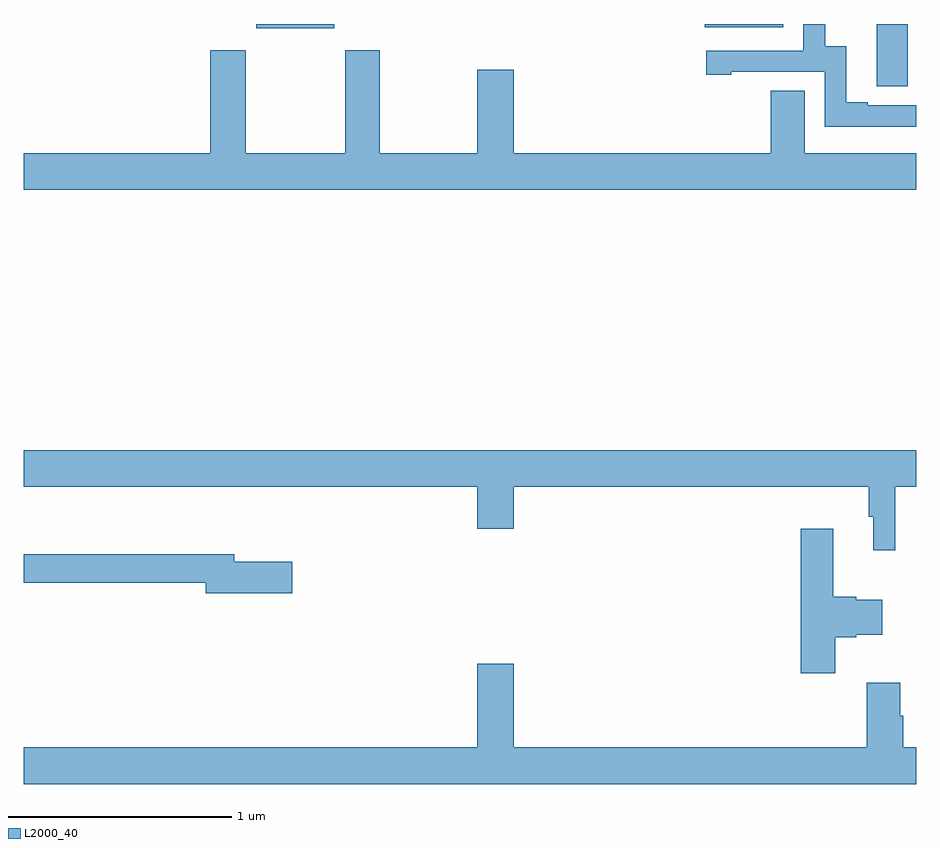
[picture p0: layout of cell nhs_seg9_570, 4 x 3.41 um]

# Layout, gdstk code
import gdstk
lib = gdstk.Library(unit=1e-6, precision=1e-09)
def R(c, l, rs):  # rectangles x0, y0, x1, y1
    for r in rs: c.add(gdstk.rectangle(r[:2], r[2:], *l))
def P(c, l, *ps):  # polygons
    for p in ps: c.add(gdstk.Polygon(p, *l))
L2000_40 = (2000, 40)

nhs_seg9_570 = lib.new_cell('nhs_seg9_570')
R(nhs_seg9_570, L2000_40, [(140.042,1194.482,140.392,1194.5), (142.052,1194.485,142.405,1194.5)])
P(nhs_seg9_570, L2000_40, [(142.963,1194.5),(142.823,1194.5),(142.823,1194.328),(142.824,1194.328),(142.824,1194.22),(142.963,1194.22)],
  [(143,1194.135),(142.783,1194.135),(142.783,1194.15),(142.687,1194.15),(142.687,1194.401),(142.593,1194.401),(142.593,1194.5),(142.494,1194.5),(142.494,1194.381),(142.059,1194.381),(142.059,1194.273),(142.171,1194.273),(142.171,1194.285),(142.59,1194.285),(142.59,1194.039),(143,1194.039)],
  [(143,1193.92),(142.501,1193.92),(142.501,1194.2),(142.349,1194.2),(142.349,1193.92),(141.196,1193.92),(141.196,1194.295),(141.032,1194.295),(141.032,1193.92),(140.595,1193.92),(140.595,1194.382),(140.44,1194.382),(140.44,1193.92),(139.995,1193.92),(139.995,1194.382),(139.835,1194.382),(139.835,1193.92),(139,1193.92),(139,1193.756),(143,1193.756)],
  [(142.906,1192.424),(143,1192.424),(143,1192.588),(139,1192.588),(139,1192.424),(141.032,1192.424),(141.032,1192.236),(141.196,1192.236),(141.196,1192.424),(142.789,1192.424),(142.789,1192.29),(142.808,1192.29),(142.808,1192.14),(142.906,1192.14)],
  [(142.638,1191.749),(142.731,1191.749),(142.731,1191.761),(142.849,1191.761),(142.849,1191.919),(142.731,1191.919),(142.731,1191.932),(142.63,1191.932),(142.63,1192.237),(142.484,1192.237),(142.484,1191.588),(142.638,1191.588)],
  [(140.203,1192.089),(139.942,1192.089),(139.942,1192.123),(139,1192.123),(139,1191.994),(139.814,1191.994),(139.814,1191.947),(140.203,1191.947)],
  [(143,1191.256),(142.943,1191.256),(142.943,1191.398),(142.93,1191.398),(142.93,1191.547),(142.778,1191.547),(142.778,1191.256),(141.196,1191.256),(141.196,1191.631),(141.032,1191.631),(141.032,1191.256),(139,1191.256),(139,1191.092),(143,1191.092)])

lib.write_gds('nhs_seg9_570.gds')
